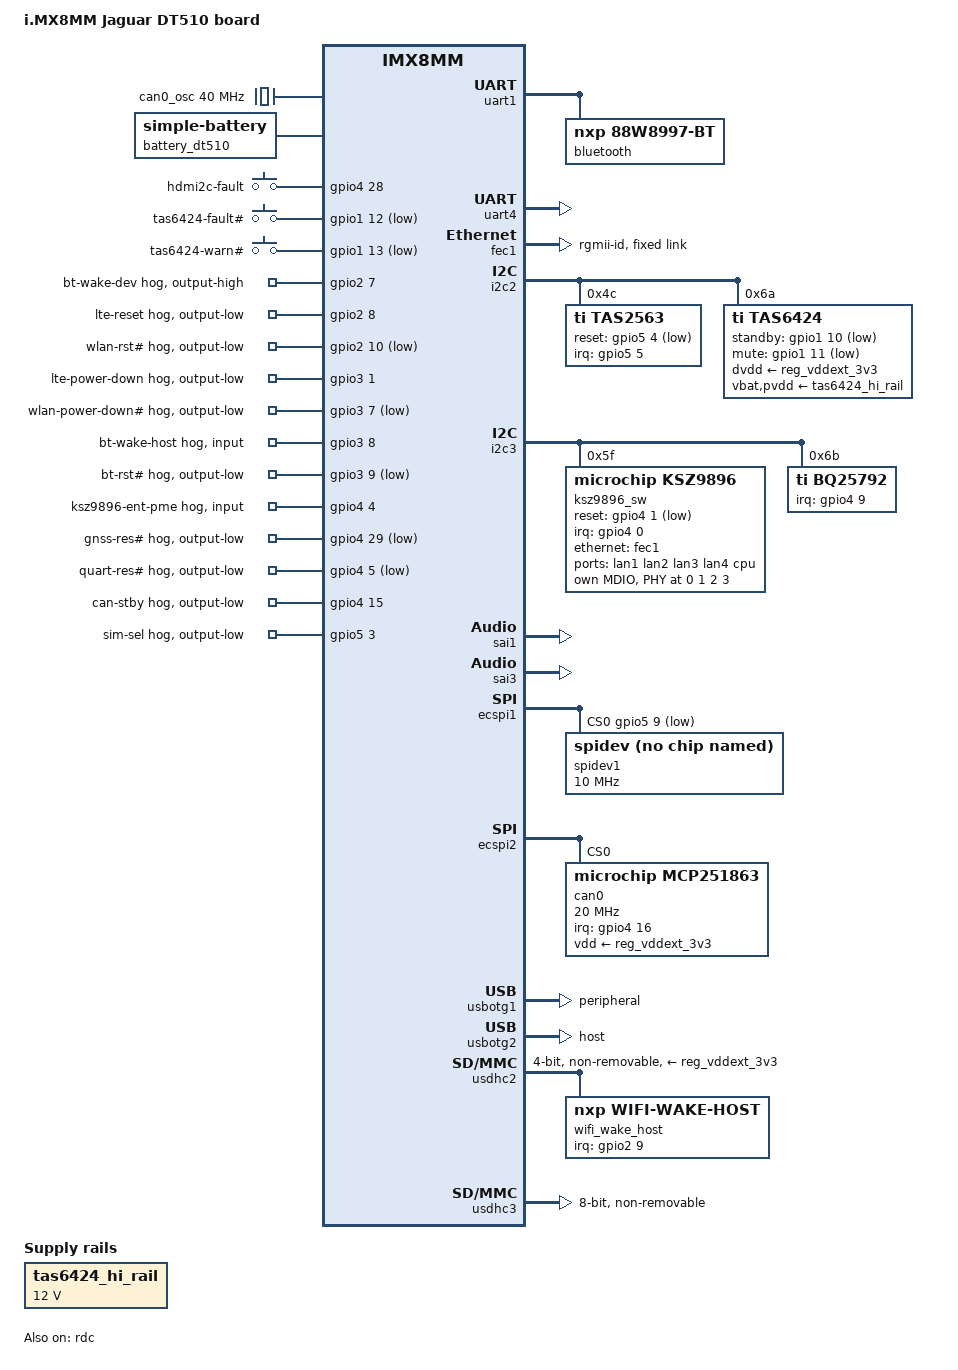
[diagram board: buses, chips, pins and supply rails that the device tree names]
// SPDX-License-Identifier: (GPL-2.0 OR MIT)
/*
 * Copyright 2020 NXP
 */
/*
 * i.MX8MM Jaguar DT510 — canonical device tree source (Tier A2).
 *
 * recipes-kernel/linux/linux-lmp-fslc-imx/imx8mm-jaguar-dt510.dts is a symlink to this file (Tier A1).
 *
 * Hardware SSOT: VIX DT510 pinout / hardware spec (Google Doc — revise on schematic proof).
 * Bring-up plan & tiers: docs/DT510-BSP-PROJECT-PLAN.md
 *
 * Board highlights (this file vs EVK):
 *   PMIC: inherited PCA9450 on &i2c1 @ 0x25 (imx8mm-evkb.dts).
 *   Cellular: USB OTG2 host; LTE_RST (GPIO2_IO8), LTE_OFF / power-down (GPIO3_IO1), SIM_SEL (GPIO5_IO3: low=nano, high=eSIM) via GPIO hogs + hoggrp mux.
 *   Storage: on-chip eMMC on USDHC3 (same NAND-pin mux as i.MX8MM EVK — imx8mm-evkb.dtsi does not pull in imx8mm-evk.dts, which enables this).
 *   WLAN/BT: IW612 SDIO on USDHC2 + UART1; strap pins (hoggrp / gpio2 / gpio3):
 *            WIFI_PD# NAND_DATA01→GPIO3_IO7; WL_WAKE SD1_DATA7→GPIO2_IO9 (IRQ 9); WL_RST# SD1_RESET_B→GPIO2_IO10;
 *            BT_WAKE_HOST NAND_DATA02→GPIO3_IO8; BT_RST# NAND_DATA03→GPIO3_IO9.
 *            SDIO VMMC from PCA9450 VDDEXT (`&reg_vddext_3v3`) — same rail approach as jaguar-sentai `regulator-vddext`.
 *   Ethernet: i.MX FEC → Microchip KSZ9896 DSA (RGMII + I2C management on &i2c3 @ 0x5f); four LAN PHYs inside switch.
 *   Audio: TI TAS6424 (&sai1), TAS2563 (&sai3), TAC5301 analog (&sai6, I2C @0x50 — DTS ready; ASoC driver not in factory kernel yet).
 *            TAS6424 AMP_FAULT#/WARN# on gpio-keys (GPIO1_IO12/13).
 *   Power / sensing: TI BQ25792 charger on &i2c3.
 *   Zigbee: ECSPI1 to 802.15.4 module (userspace spidev); ZB_INT on GPIO4_IO22 only — no ZB_RST# on DT510 hardware.
 *   CAN: Microchip MCP251863 on &ecspi2 (UART4 uses different pads — no mux clash); CAN_INT# GPIO4_IO16, CAN_STBY GPIO4_IO15.
 *   GNSS: u-blox NEO-M9V — GNSS_RES# on GPIO4_IO29 (SAI3_RXC mux), active-low reset driven by SoC.
 *   USB UART: Silicon Labs CP2108 quad bridge — USB enumerates with cp210x; QUART_RES# on GPIO4_IO5 (SAI1_RXD3 mux).
 *   HDMI: Lontium LT9611 on &i2c3 @ 0x39 — SD1_STROBE / SD1_DATA4 → GPIO2_IO11 / GPIO2_IO6 (bridge disabled until DSI graph);
 *          HDMI2C1 fault on GPIO4_IO28 (SAI3_RXFS mux).
 *   Low-power MCU: NXP MCXC144VFM — async serial on UART4 (UART4_RXD/UART4_TXD pads; DT macros UART4_DCE_RX/TX).
 *   Digital I/O: GPIO1_IO00/01/04–09 muxed as GPIO (DI1–4 / DO1–4); IO10–IO13 reserved for TAS6424 (see &tas6424).
 *            EVK hdmi@3d (ADV7535/adv7511 on &i2c2) is status disabled — driver does not probe.
 *   SE050 secure element: I2C4 @ 0x48 — handled by U-Boot / OpTEE, not described here.
 *
 * I2C numbering: Linux adapter i2c-N corresponds to DTS &i2c(N+1) (e.g. i2c-1 = &i2c2; i2c-2 = &i2c3 — KSZ9896 @ 0x5f).
 *
 * Active-low GPIO lines (# suffix, GPIO_ACTIVE_LOW): for gpio-hog, output-low requests logical
 * inactive (line electrically high for an active-low signal = enable released / reset deasserted);
 * output-high requests logical active (electrically low = asserted). Getting this backwards holds
 * chips in reset or powered down.
 */

#include "freescale/imx8mm-evkb.dts"
#include "imx8mm-sw_pad_ctl.h"
#include <dt-bindings/gpio/gpio.h>
#include <dt-bindings/input/input.h>
#include <dt-bindings/interrupt-controller/irq.h>
#include <dt-bindings/clock/imx8mm-clock.h>

/ {
	model = "i.MX8MM Jaguar DT510 board";
	compatible = "fsl,imx8mm-jaguar-dt510", "fsl,imx8mm-evkb", "fsl,imx8mm-evk", "fsl,imx8mm";

	/*
	 * Drop EVK audio composites not wired on DT510 (PMIC/audio/path differs).
	 * NXP imx8mm-evk.dtsi: regulator-audio-board gates via &pca6416; sound-ak5558 / sound-ak4497
	 * reference AK codecs removed under &i2c3 — delete these too or DTC fails on dangling phandles.
	 */
	/delete-node/ sound-micfil;
	/delete-node/ sound-wm8524;
	/delete-node/ sound-ak4458;
	/delete-node/ sound-spdif;
	/delete-node/ sound-bt-sco;
	/delete-node/ regulator-audio-board;
	/delete-node/ sound-ak5558;
	/delete-node/ sound-ak4497;

	/* EVK DSI→HDMI graph tail — hdmi@3d on &i2c2 disabled under &i2c2; DT510 HDMI is LT9611 on &i2c3. */
	/delete-node/ hdmi-connector;

	/*
	 * Fixed rails for on-board silicon:
	 *   3V3 — imx8mm-evk.dtsi `reg_vddext_3v3` (VDDEXT_3V3); use &reg_vddext_3v3 — do not duplicate regulator-name.
	 *   tas6424_hi_rail — 12V class-D VBATT+PVDD net for TAS6424 (nominal; confirm vs BOM).
	 */

	/*
	 * TAS6424 VBAT/PVDD: driver needs separate supplies; one fixed rail for both here.
	 * 12 V nominal — confirm net names vs BOM. regulator-always-on matches HW (no SW sequencing).
	 */
	tas6424_hi_rail: regulator-tas6424-hi {
		compatible = "regulator-fixed";
		regulator-name = "TAS6424_VBAT_PVDD";
		regulator-min-microvolt = <12000000>;
		regulator-max-microvolt = <12000000>;
		regulator-always-on;
	};

	/*
	 * MCP251863/MCP2518FD crystal — match BOM Hz (typ. 40 MHz); binding requires clocks + spi-max-frequency ≤ clock/2.
	 */
	can0_osc: can0-osc {
		compatible = "fixed-clock";
		#clock-cells = <0>;
		clock-frequency = <40000000>;
	};

	/* Charger IC (BQ25792) battery chemistry model — tune vs actual pack (1S placeholder). */
	battery_dt510: battery-dt510 {
		compatible = "simple-battery";
		constant-charge-voltage-max-microvolt = <4200000>;
		constant-charge-current-max-microamp = <2000000>;
		charge-term-current-microamp = <160000>;
	};

	/*
	 * ALSA device naming:
	 *   tas6424-classd — speaker power stage (TAS6424 on &sai1).
	 *   tas2563-audio — TAS2563 smart amp path on &sai3 (Profile 8 TDM).
	 */
	sound-tas6424 {
		compatible = "simple-audio-card";
		simple-audio-card,name = "tas6424-classd";
		simple-audio-card,format = "i2s";
		simple-audio-card,frame-master = <&tas6424_cpu_dai>;
		simple-audio-card,bitclock-master = <&tas6424_cpu_dai>;
		simple-audio-card,widgets =
			"Speaker", "Speaker";
		simple-audio-card,routing =
			"Speaker", "OUT";

		tas6424_cpu_dai: simple-audio-card,cpu {
			sound-dai = <&sai1>;
		};

		simple-audio-card,codec {
			sound-dai = <&tas6424>;
			clocks = <&clk IMX8MM_CLK_SAI1_ROOT>;
		};
	};

	sound-tas2563 {
		compatible = "simple-audio-card";
		simple-audio-card,name = "tas2563-audio";
		simple-audio-card,format = "i2s";
		simple-audio-card,frame-master = <&cpudai2>;
		simple-audio-card,bitclock-master = <&cpudai2>;

		simple-audio-card,widgets =
			"Speaker", "Speaker";
		simple-audio-card,routing =
			"Speaker", "OUT";

		cpudai2: simple-audio-card,cpu {
			sound-dai = <&sai3>;
			dai-tdm-slot-num = <4>;  /* Profile 8 */
			dai-tdm-slot-width = <32>;
		};

		simple-audio-card,codec {
			sound-dai = <&tas2563>;
			clocks = <&clk IMX8MM_CLK_SAI3_ROOT>;
		};
	};

	/* RDC: UART4 PDAP must be domain 0 (A53) before UART probes (see fsl,rdc-config). */
	rdc: rdc@303d0000 {
		compatible = "fsl,imx8mm-rdc";
		reg = <0x0 0x303d0000 0x0 0x10000>;
		status = "okay";

		fsl,rdc-config = <
			0x44  0x3  /* UART4 PDAP → domain 0 (A53) */
		>;
	};

	/*
	 * HDMI2C1 bridge fault (input) — not the LT9611 I2C IRQ; pad muxed in pinctrl_hdmi.
	 */
	hdmi_misc_keys {
		compatible = "gpio-keys";
		status = "okay";

		hdmi2c_fault {
			label = "hdmi2c-fault";
			gpios = <&gpio4 28 GPIO_ACTIVE_HIGH>;
			linux,code = <KEY_VENDOR>;
		};
	};

	/*
	 * TAS6424 sideband status (pads muxed with pinctrl_tas6424_gpio — codec driver still polls I2C too).
	 * BTN_0 / BTN_1 — arbitrary distinct evtest codes; labels identify nets (AMP_FAULT#, AMP_WARN# active-low).
	 */
	tas6424_amp_keys {
		compatible = "gpio-keys";
		status = "okay";

		tas6424_fault {
			label = "tas6424-fault#";
			gpios = <&gpio1 12 GPIO_ACTIVE_LOW>;
			linux,code = <BTN_0>;
		};

		tas6424_warn {
			label = "tas6424-warn#";
			gpios = <&gpio1 13 GPIO_ACTIVE_LOW>;
			linux,code = <BTN_1>;
		};
	};

	/* CM4: disabled — avoid resource contention with A53. */
	imx8mm-cm4 {
		compatible = "fsl,imx8mm-cm4";
		status = "disabled";
	};
};

/*
 * Pinmux (&iomuxc)
 *
 * Order matches pinctrl-0: hog GPIOs + BQ25792 charger interrupt, then groups used by drivers.
 * Do not list pinctrl_ecspi2 here — &ecspi2 applies it; listing it twice causes "already requested by pinctrl" for 30830000.spi.
 *   hoggrp — WLAN/BT/LTE strap lines (SD1_DATA5/6/7, SD1_RESET_B, …); TAS2563 reset (CODEC_SD# on GPIO5).
 *   bq25792_chgr_int — CHGR_INT# from charger (muxed GPIO4).
 *   uart1 — UART1 + UART3 pins used as RTS/CTS for Bluetooth (IW8997 sideband).
 *   uart4 — MCXC144VFM MCU serial (RDC domain programmed for A53).
 *   usdhc2 — SDIO to WLAN module (4-bit).
 *   fec1 / ksz9896_sideband — RGMII to KSZ9896; SAI1 pads: ENET_INTRP_N# (SAI1_RXFS→GPIO4_IO0), ENET_RST_N# (SAI1_RXC→GPIO4_IO1), + PME on GPIO4_IO4 (SAI1_RXD2).
 *   gpio1_dio — general-purpose DIO on GPIO1_IO00/01/04–09 (single SW_PAD GPIO_DEFAULT; IO02/03 N.C. on SKU).
 *   tas6424_gpio / sai1_tas6424 — TAS6424 enable/fault GPIOs + I2S to class-D.
 *   sai2 — Not wired for audio on DT510 (pads may overlap Zigbee); pinmux retained for reference.
 *   sai3 — TAS2563 I2S + codec interrupt on GPIO5.
 *   ecspi1 + zigbee — SPI to 802.15.4 module; ZB_INT on GPIO4_IO22 (no SoC ZB_RST# line on this SKU).
 *   ecspi2 + can_gpio — MCP251863: ECSPI2 pads via pinctrl_ecspi2 on &ecspi2 only; CAN sideband on GPIO4_IO15/16 (pinctrl_can_mcp2518_gpio).
 *   tac5301 — SAI6 on SAI1_RXD4/RXD5/RXD6 + SAI1_TXD5 pads; SAI1_TXD2 → GPIO4_IO14 codec strap (SAI1 TXD0/1 still &tas6424).
 *   gnss_reset — NEO-M9V GNSS_RES# (GPIO output; pad not used by &sai3 audio mux below).
 *   hdmi — LT9611 (SD1_STROBE / SD1_DATA4 / SAI3_RXFS): HDMI_RES#, HDMI_INT, HDMI2C1 fault (GPIO2_IO11, GPIO2_IO6, GPIO4_IO28).
 *   quart_reset — CP2108 QUART_RES# (GPIO4_IO5, SAI1_RXD3 pad; not in &sai1 TAS6424 pinctrl).
 */
&iomuxc {
	pinctrl-names = "default";
	pinctrl-0 = <&pinctrl_hog>, <&pinctrl_bq25792_chgr_int>, <&pinctrl_gnss_reset>, <&pinctrl_hdmi>, <&pinctrl_quart_reset>, <&pinctrl_gpio1_dio>, <&pinctrl_can_mcp2518_gpio>, <&pinctrl_sai6_tac5301>, <&pinctrl_tac5301_gpio>;

	/*
	 * Boot-time strap / sideband mux defaults (WLAN/BT/LTE/SIM/audio straps).
	 * WLAN host-side: WL_WAKE SD1_DATA7→GPIO2_IO9; WL_RST# SD1_RESET_B→GPIO2_IO10; BT_WAKE_DEV SD1_DATA5→GPIO2_IO7; LTE_RST SD1_DATA6→GPIO2_IO8.
	 */
	pinctrl_hog: hoggrp {
		fsl,pins = <
			MX8MM_IOMUXC_SD1_DATA5_GPIO2_IO7	IMX8MM_PAD_GPIO_STRAP_PULLUP  /* BT_WAKE_DEV */
			MX8MM_IOMUXC_SD1_DATA6_GPIO2_IO8	IMX8MM_PAD_GPIO_STRAP_PULLUP  /* LTE_RST */
			MX8MM_IOMUXC_SD1_DATA7_GPIO2_IO9	IMX8MM_PAD_GPIO_STRAP_PULLUP  /* WL_WAKE — WLAN wakes host */
			MX8MM_IOMUXC_SD1_RESET_B_GPIO2_IO10	IMX8MM_PAD_GPIO_STRAP_PULLUP  /* WL_RST# — SoC output, active-low */
			MX8MM_IOMUXC_NAND_CE0_B_GPIO3_IO1	IMX8MM_PAD_GPIO_STRAP_PULLUP  /* LTE_OFF / FUL_CARD_POWER_OFF# */
			MX8MM_IOMUXC_NAND_DATA01_GPIO3_IO7      IMX8MM_PAD_GPIO_STRAP_PULLUP  /* WIFI_PD# */
			MX8MM_IOMUXC_NAND_DATA02_GPIO3_IO8	IMX8MM_PAD_GPIO_STRAP_PULLUP  /* BT_WAKE_HOST */
			MX8MM_IOMUXC_NAND_DATA03_GPIO3_IO9      IMX8MM_PAD_GPIO_STRAP_PULLUP  /* BT_RST# — ISR / independent SW reset, active-low */
			MX8MM_IOMUXC_SPDIF_RX_GPIO5_IO4         IMX8MM_PAD_GPIO_STRAP_PULLUP  /* CODEC_SD# (TAS2563 reset strap) */
			MX8MM_IOMUXC_SPDIF_TX_GPIO5_IO3         IMX8MM_PAD_GPIO_STRAP_PULLUP  /* SIM_SEL: low=nano SIM, high=eSIM */
		>;
	};

	/* TI BQ25792 — CHGR_INT# (active-low alert from charger). */
	pinctrl_bq25792_chgr_int: bq25792_chgr_int_grp {
		fsl,pins = <
			MX8MM_IOMUXC_SAI1_RXD7_GPIO4_IO9	IMX8MM_PAD_GPIO_STRAP_PULLUP  /* CHGR_INT# */
		>;
	};

	/*
	 * NEO-M9V GNSS — GNSS_RES# → GPIO4_IO29 (mux SAI3_RXC pad as GPIO).
	 * Hog uses GPIO_ACTIVE_LOW + output-low (same as bt-reset-hog) → reset deasserted at boot; pulse active in userspace if needed.
	 */
	pinctrl_gnss_reset: gnssresetgrp {
		fsl,pins = <
			MX8MM_IOMUXC_SAI3_RXC_GPIO4_IO29	IMX8MM_PAD_GPIO_STRAP_PULLUP
		>;
	};

	/*
	 * Lontium LT9611 + HDMI2C1 sideband (lt9611@39 when enabled).
	 *   HDMI_RES# — GPIO2_IO11 (SD1_STROBE); HDMI_INT — GPIO2_IO6 (SD1_DATA4).
	 *   HDMI2C1 fault — GPIO4_IO28 (SAI3_RXFS; not used by current &sai3 TAS2563 pin group).
	 */
	pinctrl_hdmi: hdmigrp {
		fsl,pins = <
			MX8MM_IOMUXC_SD1_STROBE_GPIO2_IO11	IMX8MM_PAD_GPIO_STRAP_PULLUP
			MX8MM_IOMUXC_SD1_DATA4_GPIO2_IO6	IMX8MM_PAD_GPIO_STRAP_PULLUP
			MX8MM_IOMUXC_SAI3_RXFS_GPIO4_IO28	IMX8MM_PAD_GPIO_STRAP_PULLUP
		>;
	};

	/*
	 * CP2108 USB–quad-UART — QUART_RES# (active-low) on SAI1_RXD3 → GPIO4_IO5.
	 * Hog uses GPIO_ACTIVE_LOW + output-low like bt-reset-hog. Ports: /dev/ttyUSB* once USB attaches.
	 */
	pinctrl_quart_reset: quartresetgrp {
		fsl,pins = <
			MX8MM_IOMUXC_SAI1_RXD3_GPIO4_IO5	IMX8MM_PAD_GPIO_STRAP_PULLUP
		>;
	};

	/*
	 * General-purpose digital I/O — GPIO1_IO00/01/04–09 as GPIO (imx8mm-pinfunc.h pad macros through GPIO1_IO09).
	 * Mapping vs connector: DI1–4 → IO00/01/04/05; DO1–4 → IO06–09. IO02/03 not bonded here; IO10–IO13 = &tas6424.
	 */
	pinctrl_gpio1_dio: gpio1diogrp {
		fsl,pins = <
			MX8MM_IOMUXC_GPIO1_IO00_GPIO1_IO0	IMX8MM_PAD_GPIO_DEFAULT
			MX8MM_IOMUXC_GPIO1_IO01_GPIO1_IO1	IMX8MM_PAD_GPIO_DEFAULT
			MX8MM_IOMUXC_GPIO1_IO04_GPIO1_IO4	IMX8MM_PAD_GPIO_DEFAULT
			MX8MM_IOMUXC_GPIO1_IO05_GPIO1_IO5	IMX8MM_PAD_GPIO_DEFAULT
			MX8MM_IOMUXC_GPIO1_IO06_GPIO1_IO6	IMX8MM_PAD_GPIO_DEFAULT
			MX8MM_IOMUXC_GPIO1_IO07_GPIO1_IO7	IMX8MM_PAD_GPIO_DEFAULT
			MX8MM_IOMUXC_GPIO1_IO08_GPIO1_IO8	IMX8MM_PAD_GPIO_DEFAULT
			MX8MM_IOMUXC_GPIO1_IO09_GPIO1_IO9	IMX8MM_PAD_GPIO_DEFAULT
		>;
	};

	/* Bluetooth (NXP IW8997): UART1 data + UART3 pins as HCI RTS/CTS. */
	pinctrl_uart1: uart1grp {
		fsl,pins = <
			MX8MM_IOMUXC_UART1_RXD_UART1_DCE_RX     IMX8MM_PAD_UART_DEFAULT
			MX8MM_IOMUXC_UART1_TXD_UART1_DCE_TX     IMX8MM_PAD_UART_DEFAULT
			MX8MM_IOMUXC_UART3_TXD_UART1_DCE_RTS_B  IMX8MM_PAD_UART_DEFAULT
			MX8MM_IOMUXC_UART3_RXD_UART1_DCE_CTS_B  IMX8MM_PAD_UART_DEFAULT
		>;
	};

	/*
	 * UART4 — MCXC144VFM link (or lab UART): same RX/TX balls as UART4_RX/UART4_TX; NXP macros use DCE naming.
	 */
	pinctrl_uart4: uart4grp {
		fsl,pins = <
			MX8MM_IOMUXC_UART4_RXD_UART4_DCE_RX     IMX8MM_PAD_UART_DEFAULT
			MX8MM_IOMUXC_UART4_TXD_UART4_DCE_TX     IMX8MM_PAD_UART_DEFAULT
		>;
	};

	/* USDHC2 — Wi-Fi module SDIO (IW612 class / MAYA-W2 family). */
	pinctrl_usdhc2: usdhc2grp {
		fsl,pins = <
			MX8MM_IOMUXC_SD2_CLK_USDHC2_CLK         IMX8MM_PAD_USDHC_CLK
			MX8MM_IOMUXC_SD2_CMD_USDHC2_CMD         IMX8MM_PAD_USDHC_BUS
			MX8MM_IOMUXC_SD2_DATA0_USDHC2_DATA0     IMX8MM_PAD_USDHC_BUS
			MX8MM_IOMUXC_SD2_DATA1_USDHC2_DATA1     IMX8MM_PAD_USDHC_BUS
			MX8MM_IOMUXC_SD2_DATA2_USDHC2_DATA2     IMX8MM_PAD_USDHC_BUS
			MX8MM_IOMUXC_SD2_DATA3_USDHC2_DATA3     IMX8MM_PAD_USDHC_BUS
		>;
	};

	pinctrl_usdhc2_100mhz: usdhc2-100mhzgrp {
		fsl,pins = <
			MX8MM_IOMUXC_SD2_CLK_USDHC2_CLK         IMX8MM_PAD_USDHC_CLK_100MHZ
			MX8MM_IOMUXC_SD2_CMD_USDHC2_CMD         IMX8MM_PAD_USDHC_BUS_100MHZ
			MX8MM_IOMUXC_SD2_DATA0_USDHC2_DATA0     IMX8MM_PAD_USDHC_BUS_100MHZ
			MX8MM_IOMUXC_SD2_DATA1_USDHC2_DATA1     IMX8MM_PAD_USDHC_BUS_100MHZ
			MX8MM_IOMUXC_SD2_DATA2_USDHC2_DATA2     IMX8MM_PAD_USDHC_BUS_100MHZ
			MX8MM_IOMUXC_SD2_DATA3_USDHC2_DATA3     IMX8MM_PAD_USDHC_BUS_100MHZ
		>;
	};

	pinctrl_usdhc2_200mhz: usdhc2-200mhzgrp {
		fsl,pins = <
			MX8MM_IOMUXC_SD2_CLK_USDHC2_CLK         IMX8MM_PAD_USDHC_CLK_200MHZ
			MX8MM_IOMUXC_SD2_CMD_USDHC2_CMD         IMX8MM_PAD_USDHC_BUS_200MHZ
			MX8MM_IOMUXC_SD2_DATA0_USDHC2_DATA0     IMX8MM_PAD_USDHC_BUS_200MHZ
			MX8MM_IOMUXC_SD2_DATA1_USDHC2_DATA1     IMX8MM_PAD_USDHC_BUS_200MHZ
			MX8MM_IOMUXC_SD2_DATA2_USDHC2_DATA2     IMX8MM_PAD_USDHC_BUS_200MHZ
			MX8MM_IOMUXC_SD2_DATA3_USDHC2_DATA3     IMX8MM_PAD_USDHC_BUS_200MHZ
		>;
	};

	/*
	 * USDHC3 — on-board eMMC (EVK-class 8-bit NAND pin mux).
	 * Copied from NXP imx8mm-evk.dts; required after switching base to imx8mm-evkb.dts (evkb omits this board file).
	 */
	pinctrl_usdhc3: usdhc3grp {
		fsl,pins = <
			MX8MM_IOMUXC_NAND_WE_B_USDHC3_CLK               IMX8MM_PAD_USDHC_CLK
			MX8MM_IOMUXC_NAND_WP_B_USDHC3_CMD               IMX8MM_PAD_USDHC_BUS
			MX8MM_IOMUXC_NAND_DATA04_USDHC3_DATA0           IMX8MM_PAD_USDHC_BUS
			MX8MM_IOMUXC_NAND_DATA05_USDHC3_DATA1           IMX8MM_PAD_USDHC_BUS
			MX8MM_IOMUXC_NAND_DATA06_USDHC3_DATA2           IMX8MM_PAD_USDHC_BUS
			MX8MM_IOMUXC_NAND_DATA07_USDHC3_DATA3           IMX8MM_PAD_USDHC_BUS
			MX8MM_IOMUXC_NAND_RE_B_USDHC3_DATA4             IMX8MM_PAD_USDHC_BUS
			MX8MM_IOMUXC_NAND_CE2_B_USDHC3_DATA5            IMX8MM_PAD_USDHC_BUS
			MX8MM_IOMUXC_NAND_CE3_B_USDHC3_DATA6            IMX8MM_PAD_USDHC_BUS
			MX8MM_IOMUXC_NAND_CLE_USDHC3_DATA7              IMX8MM_PAD_USDHC_BUS
			MX8MM_IOMUXC_NAND_CE1_B_USDHC3_STROBE           IMX8MM_PAD_USDHC_CLK
		>;
	};

	pinctrl_usdhc3_100mhz: usdhc3-100mhzgrp {
		fsl,pins = <
			MX8MM_IOMUXC_NAND_WE_B_USDHC3_CLK               IMX8MM_PAD_USDHC_CLK_100MHZ
			MX8MM_IOMUXC_NAND_WP_B_USDHC3_CMD               IMX8MM_PAD_USDHC_BUS_100MHZ
			MX8MM_IOMUXC_NAND_DATA04_USDHC3_DATA0           IMX8MM_PAD_USDHC_BUS_100MHZ
			MX8MM_IOMUXC_NAND_DATA05_USDHC3_DATA1           IMX8MM_PAD_USDHC_BUS_100MHZ
			MX8MM_IOMUXC_NAND_DATA06_USDHC3_DATA2           IMX8MM_PAD_USDHC_BUS_100MHZ
			MX8MM_IOMUXC_NAND_DATA07_USDHC3_DATA3           IMX8MM_PAD_USDHC_BUS_100MHZ
			MX8MM_IOMUXC_NAND_RE_B_USDHC3_DATA4             IMX8MM_PAD_USDHC_BUS_100MHZ
			MX8MM_IOMUXC_NAND_CE2_B_USDHC3_DATA5            IMX8MM_PAD_USDHC_BUS_100MHZ
			MX8MM_IOMUXC_NAND_CE3_B_USDHC3_DATA6            IMX8MM_PAD_USDHC_BUS_100MHZ
			MX8MM_IOMUXC_NAND_CLE_USDHC3_DATA7              IMX8MM_PAD_USDHC_BUS_100MHZ
			MX8MM_IOMUXC_NAND_CE1_B_USDHC3_STROBE           IMX8MM_PAD_USDHC_CLK_100MHZ
		>;
	};

	pinctrl_usdhc3_200mhz: usdhc3-200mhzgrp {
		fsl,pins = <
			MX8MM_IOMUXC_NAND_WE_B_USDHC3_CLK               IMX8MM_PAD_USDHC_CLK_200MHZ
			MX8MM_IOMUXC_NAND_WP_B_USDHC3_CMD               IMX8MM_PAD_USDHC_BUS_200MHZ
			MX8MM_IOMUXC_NAND_DATA04_USDHC3_DATA0           IMX8MM_PAD_USDHC_BUS_200MHZ
			MX8MM_IOMUXC_NAND_DATA05_USDHC3_DATA1           IMX8MM_PAD_USDHC_BUS_200MHZ
			MX8MM_IOMUXC_NAND_DATA06_USDHC3_DATA2           IMX8MM_PAD_USDHC_BUS_200MHZ
			MX8MM_IOMUXC_NAND_DATA07_USDHC3_DATA3           IMX8MM_PAD_USDHC_BUS_200MHZ
			MX8MM_IOMUXC_NAND_RE_B_USDHC3_DATA4             IMX8MM_PAD_USDHC_BUS_200MHZ
			MX8MM_IOMUXC_NAND_CE2_B_USDHC3_DATA5            IMX8MM_PAD_USDHC_BUS_200MHZ
			MX8MM_IOMUXC_NAND_CE3_B_USDHC3_DATA6            IMX8MM_PAD_USDHC_BUS_200MHZ
			MX8MM_IOMUXC_NAND_CLE_USDHC3_DATA7              IMX8MM_PAD_USDHC_BUS_200MHZ
			MX8MM_IOMUXC_NAND_CE1_B_USDHC3_STROBE           IMX8MM_PAD_USDHC_CLK_200MHZ
		>;
	};

	/*
	 * ENET1 — RGMII from SoC to KSZ9896 CPU port.
	 * Pad CFG values match imx8mm-evk.dtsi pinctrl_fec1 (fec1grp).
	 * EVK also lists SAI2_RXC→GPIO4_IO22 @ 0x19 (PHY strap); DT510 uses that pad for ZB_INT — see pinctrl_zigbee.
	 */
	pinctrl_fec1_dt510: fec1dt510grp {
		fsl,pins = <
			MX8MM_IOMUXC_ENET_MDC_ENET1_MDC				IMX8MM_PAD_ENET_MDIO
			MX8MM_IOMUXC_ENET_MDIO_ENET1_MDIO			IMX8MM_PAD_ENET_MDIO
			MX8MM_IOMUXC_ENET_TD3_ENET1_RGMII_TD3		IMX8MM_PAD_ENET_RGMII_TX
			MX8MM_IOMUXC_ENET_TD2_ENET1_RGMII_TD2		IMX8MM_PAD_ENET_RGMII_TX
			MX8MM_IOMUXC_ENET_TD1_ENET1_RGMII_TD1		IMX8MM_PAD_ENET_RGMII_TX
			MX8MM_IOMUXC_ENET_TD0_ENET1_RGMII_TD0		IMX8MM_PAD_ENET_RGMII_TX
			MX8MM_IOMUXC_ENET_RD3_ENET1_RGMII_RD3		IMX8MM_PAD_ENET_RGMII_RX
			MX8MM_IOMUXC_ENET_RD2_ENET1_RGMII_RD2		IMX8MM_PAD_ENET_RGMII_RX
			MX8MM_IOMUXC_ENET_RD1_ENET1_RGMII_RD1		IMX8MM_PAD_ENET_RGMII_RX
			MX8MM_IOMUXC_ENET_RD0_ENET1_RGMII_RD0		IMX8MM_PAD_ENET_RGMII_RX
			MX8MM_IOMUXC_ENET_TXC_ENET1_RGMII_TXC		IMX8MM_PAD_ENET_RGMII_TX
			MX8MM_IOMUXC_ENET_RXC_ENET1_RGMII_RXC		IMX8MM_PAD_ENET_RGMII_RX
			MX8MM_IOMUXC_ENET_RX_CTL_ENET1_RGMII_RX_CTL	IMX8MM_PAD_ENET_RGMII_RX
			MX8MM_IOMUXC_ENET_TX_CTL_ENET1_RGMII_TX_CTL	IMX8MM_PAD_ENET_RGMII_TX
		>;
	};

	/*
	 * KSZ9896 / FEC sideband on SAI1 pads (see &ksz9896_sw).
	 *   ENET_INTRP_N# — SAI1_RXFS → GPIO4_IO0, input to SoC, active-low (interrupt to MAC driver).
	 *   ENET_RST_N#    — SAI1_RXC → GPIO4_IO1, output from SoC, active-low (switch reset).
	 *   PME / wake     — SAI1_RXD2 → GPIO4_IO4 (ksz9896 PME hog).
	 */
	pinctrl_ksz9896_sideband: ksz9896sidebandgrp {
		fsl,pins = <
			MX8MM_IOMUXC_SAI1_RXFS_GPIO4_IO0	IMX8MM_PAD_GPIO_STD	/* ENET_INTRP_N# */
			MX8MM_IOMUXC_SAI1_RXC_GPIO4_IO1	IMX8MM_PAD_GPIO_STD	/* ENET_RST_N# */
			MX8MM_IOMUXC_SAI1_RXD2_GPIO4_IO4	IMX8MM_PAD_GPIO_STD	/* KSZ9896 PME / ent-pme */
		>;
	};

	/* TAS6424 — AMP_STBY#, AMP_MUTE#, FAULT, WARN (GPIO1 sideband). */
	pinctrl_tas6424_gpio: tas6424gpiogrp {
		fsl,pins = <
			MX8MM_IOMUXC_GPIO1_IO10_GPIO1_IO10	IMX8MM_PAD_GPIO_STD
			MX8MM_IOMUXC_GPIO1_IO11_GPIO1_IO11	IMX8MM_PAD_GPIO_STD
			MX8MM_IOMUXC_GPIO1_IO12_GPIO1_IO12	IMX8MM_PAD_GPIO_STD
			MX8MM_IOMUXC_GPIO1_IO13_GPIO1_IO13	IMX8MM_PAD_GPIO_STD
		>;
	};

	/* TAS6424 — I2S master from SoC (SAI1). */
	pinctrl_sai1_tas6424: sai1tas6424grp {
		fsl,pins = <
			MX8MM_IOMUXC_SAI1_MCLK_SAI1_MCLK		IMX8MM_PAD_I2S_BUS
			MX8MM_IOMUXC_SAI1_TXFS_SAI1_TX_SYNC		IMX8MM_PAD_I2S_SYNC
			MX8MM_IOMUXC_SAI1_TXC_SAI1_TX_BCLK		IMX8MM_PAD_I2S_BUS
			MX8MM_IOMUXC_SAI1_TXD0_SAI1_TX_DATA0	IMX8MM_PAD_I2S_BUS
			MX8MM_IOMUXC_SAI1_TXD1_SAI1_TX_DATA1	IMX8MM_PAD_I2S_BUS
		>;
	};

	/* Not used by &sai2 on DT510; kept for alignment with EVK-style SAI2 pin bundle if enabled later. */
	pinctrl_sai2: sai2grp {
		fsl,pins = <
			MX8MM_IOMUXC_SAI2_MCLK_SAI2_MCLK        IMX8MM_PAD_SAI_DEFAULT
			MX8MM_IOMUXC_SAI2_TXFS_SAI2_TX_SYNC     IMX8MM_PAD_SAI_DEFAULT
			MX8MM_IOMUXC_SAI2_TXC_SAI2_TX_BCLK      IMX8MM_PAD_SAI_DEFAULT
			MX8MM_IOMUXC_SAI2_TXD0_SAI2_TX_DATA0    IMX8MM_PAD_SAI_DEFAULT
			MX8MM_IOMUXC_SAI2_RXD0_SAI2_RX_DATA0    IMX8MM_PAD_SAI_DEFAULT
		>;
	};

	/* TAS2563 — I2S + GPIO5 interrupt; SPDIF_EXT_CLK pad used as codec IRQ line. */
	pinctrl_sai3: sai3grp {
		fsl,pins = <
			MX8MM_IOMUXC_SAI3_TXFS_SAI3_TX_SYNC     IMX8MM_PAD_SAI_DEFAULT
			MX8MM_IOMUXC_SAI3_TXC_SAI3_TX_BCLK      IMX8MM_PAD_SAI_DEFAULT
			MX8MM_IOMUXC_SAI3_MCLK_SAI3_MCLK        IMX8MM_PAD_SAI_DEFAULT
			MX8MM_IOMUXC_SAI3_TXD_SAI3_TX_DATA0     IMX8MM_PAD_SAI_DEFAULT
			MX8MM_IOMUXC_SAI3_RXD_SAI3_RX_DATA0     IMX8MM_PAD_SAI_DEFAULT
			MX8MM_IOMUXC_SPDIF_EXT_CLK_GPIO5_IO5    IMX8MM_PAD_SAI_DEFAULT
		>;
	};

	/* ECSPI1 — SPI clock/data to Zigbee module; CS on GPIO5_IO9. */
	pinctrl_ecspi1: ecspi1grp {
		fsl,pins = <
			MX8MM_IOMUXC_ECSPI1_SS0_GPIO5_IO9	IMX8MM_PAD_SPI_HOST_DEFAULT
			MX8MM_IOMUXC_ECSPI1_SCLK_ECSPI1_SCLK	IMX8MM_PAD_SPI_HOST_DEFAULT
			MX8MM_IOMUXC_ECSPI1_MISO_ECSPI1_MISO	IMX8MM_PAD_SPI_HOST_DEFAULT
			MX8MM_IOMUXC_ECSPI1_MOSI_ECSPI1_MOSI	IMX8MM_PAD_SPI_HOST_DEFAULT
		>;
	};

	/* Zigbee — ZB_INT on GPIO4_IO22; no SoC ZB_RST# routed on this SKU. */
	pinctrl_zigbee: zigbeegrp {
		fsl,pins = <
			MX8MM_IOMUXC_SAI2_RXC_GPIO4_IO22        IMX8MM_PAD_GPIO_STRAP_PULLUP
		>;
	};

	/* ECSPI2 — Microchip MCP251863 CAN controller (chip select SS0). */
	pinctrl_ecspi2: ecspi2grp {
		fsl,pins = <
			MX8MM_IOMUXC_ECSPI2_SCLK_ECSPI2_SCLK	IMX8MM_PAD_SPI_HOST_DEFAULT
			MX8MM_IOMUXC_ECSPI2_MISO_ECSPI2_MISO	IMX8MM_PAD_SPI_HOST_DEFAULT
			MX8MM_IOMUXC_ECSPI2_MOSI_ECSPI2_MOSI	IMX8MM_PAD_SPI_HOST_DEFAULT
			MX8MM_IOMUXC_ECSPI2_SS0_ECSPI2_SS0	IMX8MM_PAD_SPI_HOST_DEFAULT
		>;
	};

	/*
	 * MCP251863 sideband — CAN_STBY (active-high strap per HW doc), CAN_INT# (active-low, push/pull input).
	 * &sai1 audio mux uses TXD0/TXD1 only; TXD3/TXD4 pads → GPIO4_IO15/IO16.
	 */
	pinctrl_can_mcp2518_gpio: canmcp2518gpiogrp {
		fsl,pins = <
			MX8MM_IOMUXC_SAI1_TXD3_GPIO4_IO15	IMX8MM_PAD_GPIO_STRAP_PULLUP
			MX8MM_IOMUXC_SAI1_TXD4_GPIO4_IO16	IMX8MM_PAD_GPIO_STRAP_PULLUP
		>;
	};

	/*
	 * TI TAC5301-Q1 — I2S on &sai6 (pads shared naming on SAI1_* muxOptions → SAI6).
	 * No separate MCLK pad in SSOT pin list here — confirm vs BOM / driver when enabling.
	 */
	pinctrl_sai6_tac5301: sai6_tac5301_grp {
		fsl,pins = <
			MX8MM_IOMUXC_SAI1_RXD6_SAI6_TX_SYNC		IMX8MM_PAD_SAI_DEFAULT
			MX8MM_IOMUXC_SAI1_RXD4_SAI6_TX_BCLK		IMX8MM_PAD_SAI_DEFAULT
			MX8MM_IOMUXC_SAI1_RXD5_SAI6_TX_DATA0		IMX8MM_PAD_SAI_DEFAULT
			MX8MM_IOMUXC_SAI1_TXD5_SAI6_RX_DATA0		IMX8MM_PAD_SAI_DEFAULT
		>;
	};

	/* TAC5301 — configurable GPIO strap (CODEC_CTL / reset / IRQ per schematic); verify polarity vs TI tac5x1x binding. */
	pinctrl_tac5301_gpio: tac5301_gpiogrp {
		fsl,pins = <
			MX8MM_IOMUXC_SAI1_TXD2_GPIO4_IO14		IMX8MM_PAD_SAI_DEFAULT
		>;
	};
};

/*
 * UART
 *   uart1 — Bluetooth HCI (88x8997 family); firmware loads over this link at init baud below.
 *   uart3 — disabled at bottom of file (unused on this SKU).
 *   uart4 — MCXC144VFM low-power MCU (RX/TX only); &rdc pins UART4 PDAP to A53 before probe (see &rdc node).
 */
&uart1 {
	pinctrl-names = "default";
	pinctrl-0 = <&pinctrl_uart1>;
	assigned-clocks = <&clk IMX8MM_CLK_UART1>;
	assigned-clock-parents = <&clk IMX8MM_SYS_PLL1_80M>;
	fsl,uart-has-rtscts;
	status = "okay";

	/* Bluetooth HCI controller — MAC/PHY firmware negotiates rate after boot (see compatible). */
	bluetooth {
		compatible = "nxp,88w8997-bt";
		fw-init-baudrate = <3000000>;
	};
};

&uart4 {
	pinctrl-names = "default";
	pinctrl-0 = <&pinctrl_uart4>;
	/* RDC: UART4 PDAP domain must be set in U-Boot before Linux probes this UART. */
	status = "okay";
	fsl,rdc-domain = <0>;
};

/*
 * GPIO hogs — kernel-owned GPIO lines with fixed direction/level at probe time (no /dev/gpiochip export).
 * Purpose: (1) safe boot defaults before userspace or modular drivers (resets released, power domains on,
 * SIM mux chosen); (2) reserve lines that are pure hardware straps or sideband so nothing else claims them.
 *   gpio2 — WLAN/BT/LTE: BT_WAKE_DEV (IO7), LTE_RST (IO8), WL_WAKE (IO9), WL_RST# (IO10).
 *   gpio2 — LT9611: HDMI_INT (IO6), HDMI_RES# (IO11).
 *   gpio3 — LTE_OFF / full-card power off (IO1), WIFI_PD#, BT_WAKE_HOST (IO8), BT_RST# (IO9, NAND_DATA03 mux).
 *   gpio4 — ENET_INTRP_N# (IO0), ENET_RST_N# via &ksz9896_sw (IO1), KSZ9896 PME (IO4); GNSS_RES#, QUART_RES#, CAN_STBY; TAC5301 strap IO14; HDMI fault elsewhere.
 *   gpio5 — SIM_SEL (IO3): output-low at boot selects nano SIM per RF shield/BOM (drive high for eSIM).
 */
&gpio2 {
	/*
	 * BT_WAKE_DEV — host-driven wake toward the BT/WLAN module (SD1_DATA5 / GPIO2_IO7). Holds the strap
	 * the RF stack expects at boot; remove hog if firmware needs to pulse this at runtime.
	 */
	bt-wake-dev-hog {
		gpio-hog;
		gpios = <7 GPIO_ACTIVE_HIGH>;
		output-high;
		line-name = "bt-wake-dev";
	};

	/*
	 * LTE_RST — spreadsheet Active-High output from SoC; boot default released (modem out of reset).
	 * Remove gpio-hog if userspace must pulse reset during firmware upgrade.
	 */
	lte-reset-hog {
		gpio-hog;
		gpios = <8 GPIO_ACTIVE_HIGH>;
		output-low;
		line-name = "lte-reset";
	};

	/*
	 * WL_RST# — SD1_RESET_B → GPIO2_IO10 (GPIO_ACTIVE_LOW + output-low = reset released).
	 */
	wlan-rst-hog {
		gpio-hog;
		gpios = <10 GPIO_ACTIVE_LOW>;
		output-low;
		line-name = "wlan-rst#";
	};
};

&gpio3 {
	/*
	 * LTE_OFF / FUL_CARD_POWER_OFF# (NAND_CE0_B → GPIO3_IO1) — spreadsheet active-high: output-low keeps the
	 * modem out of “full card off”; drive high to assert power-down when userspace controls the line.
	 */
	lte-power-down-hog {
		gpio-hog;
		gpios = <1 GPIO_ACTIVE_HIGH>;
		output-low;
		line-name = "lte-power-down";
	};

	/*
	 * WIFI_PD# (NAND_DATA01 → GPIO3_IO7) — active-low WLAN radio power-down. output-low = logical inactive =
	 * PD# deasserted so Wi-Fi is not held in power-down at boot.
	 */
	wlan-power-down-hog {
		gpio-hog;
		gpios = <7 GPIO_ACTIVE_LOW>;
		output-low;
		line-name = "wlan-power-down#";
	};

	/*
	 * BT_WAKE_HOST — input from BT/WLAN module toward the AP (NAND_DATA02 / GPIO3_IO8). Hogged as input so
	 * the line is muxed and not exported as a free output; the module drives host-wake when needed.
	 */
	bt-wake-host-hog {
		gpio-hog;
		gpios = <8 GPIO_ACTIVE_HIGH>;
		input;
		line-name = "bt-wake-host";
	};

	/*
	 * BT_RST# — NAND_DATA03 → GPIO3_IO9; independent software reset (active-low from SoC).
	 */
	bt-reset-hog {
		gpio-hog;
		gpios = <9 GPIO_ACTIVE_LOW>;
		output-low;
		line-name = "bt-rst#";
	};
};

&gpio4 {
	/* Sideband pads muxed with &fec1 / pinctrl_ksz9896_sideband — do not add gpio4 pinctrl-0 here. */
	status = "okay";

	/*
	 * KSZ9896 PME / energy-detect (SAI1_RXD2 → GPIO4_IO4) — switch wake / link-energy sideband. Hogged as
	 * input so the line stays associated with the hog until DSA/MAC path owns wake semantics.
	 */
	ksz9896_pme {
		gpio-hog;
		gpios = <4 GPIO_ACTIVE_HIGH>;
		input;
		line-name = "ksz9896-ent-pme";
	};

	/*
	 * NEO-M9V GNSS_RES# — active-low reset from SoC (same hog pattern as bt-reset-hog).
	 * GPIO_ACTIVE_LOW + output-low → logical inactive → physical high → reset deasserted at boot.
	 * sysfs line name: gnss-res# (GPIO4_IO29). Toggle via libgpiod if hog removed later.
	 */
	gnss-res-hog {
		gpio-hog;
		gpios = <29 GPIO_ACTIVE_LOW>;
		output-low;
		line-name = "gnss-res#";
	};

	/*
	 * CP2108 quad UART bridge — QUART_RES# (SAI1_RXD3 → GPIO4_IO5), active-low reset from SoC.
	 * Same pattern as bt-reset-hog: GPIO_ACTIVE_LOW + output-low → reset deasserted (bridge running).
	 */
	quart-res-hog {
		gpio-hog;
		gpios = <5 GPIO_ACTIVE_LOW>;
		output-low;
		line-name = "quart-res#";
	};

	/*
	 * CAN transceiver standby (GPIO4_IO15) — HW labels CAN_STBY Active-High: high = standby asserted on many parts.
	 * Default output-low — typical “run” if standby is high-active; delete hog if userspace/socketcan must toggle.
	 */
	can-stby-hog {
		gpio-hog;
		gpios = <15 GPIO_ACTIVE_HIGH>;
		output-low;
		line-name = "can-stby";
	};
};

&gpio5 {
	/*
	 * SIM_SEL (SPDIF_TX → GPIO5_IO3) — mux between nano SIM slot and eSIM: output-low selects nano SIM,
	 * output-high selects eSIM (matches spreadsheet active-high naming).
	 */
	sim-sel-hog {
		gpio-hog;
		gpios = <3 GPIO_ACTIVE_HIGH>;
		output-low;
		line-name = "sim-sel";
	};
};

/*
 * Ethernet
 *   FEC — i.MX Gigabit MAC to KSZ9896 “CPU” port over RGMII (no external PHY on FEC).
 *   Switch management — I2C on &i2c3 @ 0x5f; internal PHYs on switch MDIO (lan1–lan4).
 *   Details: docs/DT510-ETHERNET-KSZ9896.md
 */
&fec1 {
	pinctrl-names = "default";
	pinctrl-0 = <&pinctrl_fec1_dt510 &pinctrl_ksz9896_sideband>;
	/*
	 * RGMII to KSZ9896 CPU port: use rgmii-id so MAC phylink matches KSZ XMII internal delays.
	 * (Avoid rgmii-txid + tx-internal-delay only on the switch port — KSZ driver then forces
	 * rx_delay=0 and can clear the default RX-clock delay on Port 6, hurting ingress timing.)
	 */
	phy-mode = "rgmii-id";
	status = "okay";
	/delete-property/ phy-handle;
	/delete-property/ fsl,magic-packet;

	fixed-link {
		speed = <1000>;
		full-duplex;
		pause;
	};
};

/*
 * I2C peripherals (see also file banner for Linux i2c-N vs &i2cN)
 *
 * &i2c2 (Linux i2c-1): audio ICs (TAS2563 / TAS6424).
 * &i2c3 (Linux i2c-2): KSZ9896 switch @ 0x5f + charger + LT9611 HDMI bridge.
 * PMIC &i2c1 stays in imx8mm-evkb.dts (PCA9450).
 */
&i2c2 {
	/* EVK USB-C PD controller not populated — TCPC node removed (freed 0x50). */
	/delete-node/ tcpc@50;

	/*
	 * EVK hdmi@3d — Analog Devices ADV7535 (binds as adv7511). DT510 uses LT9611 on &i2c3; keep node but disabled
	 * so no I²C driver probes and no IRQ/pinctrl runs (delete-node alone can be fragile across overlays).
	 */
	hdmi@3d {
		status = "disabled";
	};

	/* TI TAS2563 — smart amp / speaker driver (control + diagnostics on I2C, audio on &sai3). */
	tas2563: tas2563@4c {
		#sound-dai-cells = <0>;
		compatible = "ti,tas2563";
		reg = <0x4c>;
		ti,channels = <1>;
		reset-gpios = <&gpio5 4 GPIO_ACTIVE_LOW>;
		interrupt-parent = <&gpio5>;
		interrupts = <5 IRQ_TYPE_LEVEL_LOW>;

		ti,asi-format = <0>;
		ti,left-slot = <0>;
		ti,right-slot = <1>;

		status = "okay";
	};

	/* TI TAS6424 — four-channel class-D output (I2S on &sai1). */
	tas6424: tas6424@6a {
		compatible = "ti,tas6424";
		reg = <0x6a>;
		#sound-dai-cells = <0>;
		pinctrl-names = "default";
		pinctrl-0 = <&pinctrl_tas6424_gpio>;
		dvdd-supply = <&reg_vddext_3v3>;
		vbat-supply = <&tas6424_hi_rail>;
		pvdd-supply = <&tas6424_hi_rail>;
		standby-gpios = <&gpio1 10 GPIO_ACTIVE_LOW>;
		mute-gpios = <&gpio1 11 GPIO_ACTIVE_LOW>;
		status = "okay";
	};

	/*
	 * TI TAC5301-Q1 — analog audio codec on &sai6.
	 * Kernel: upstream ti,tac5x1x ASoC driver (e.g. Linux 6.10+) — not in current linux-lmp-fslc-imx line; leave disabled until driver lands.
	 * Revise reset-gpios / supplies vs datasheet + tac5x1x YAML when enabling.
	 */
	tac5301: tac5301@50 {
		compatible = "ti,tac5301";
		reg = <0x50>;
		#sound-dai-cells = <0>;
		pinctrl-names = "default";
		pinctrl-0 = <&pinctrl_tac5301_gpio>;
		reset-gpios = <&gpio4 14 GPIO_ACTIVE_LOW>;
		avdd-supply = <&reg_vddext_3v3>;
		iovdd-supply = <&reg_vddext_3v3>;
		status = "disabled";
	};
};

&i2c3 {
	/* Strip EVK audio/camera/gpio-expander children not fitted on DT510. */
	/delete-node/ ak4458@10;
	/delete-node/ ak4458@12;
	/delete-node/ ak5558@13;
	/delete-node/ ak4497@11;
	/delete-node/ camera@3c;
	/delete-node/ gpio@20;

	/* Microchip KSZ9896 — 4-port gigabit switch + RGMII CPU port; strap sets this I2C address (hardware on &i2c3). */
	ksz9896_sw: switch@5f {
		compatible = "microchip,ksz9896";
		reg = <0x5f>;
		/* ENET_RST_N# — SAI1_RXC → GPIO4_IO1; active-low reset output from SoC */
		reset-gpios = <&gpio4 1 GPIO_ACTIVE_LOW>;
		interrupt-parent = <&gpio4>;
		/* ENET_INTRP_N# — SAI1_RXFS → GPIO4_IO0; active-low interrupt input */
		interrupts = <0 IRQ_TYPE_LEVEL_LOW>;

		ethernet-ports {
			#address-cells = <1>;
			#size-cells = <0>;

			port@0 {
				reg = <0>;
				label = "lan1";
				phy-handle = <&swphy0>;
			};

			port@1 {
				reg = <1>;
				label = "lan2";
				phy-handle = <&swphy1>;
			};

			port@2 {
				reg = <2>;
				label = "lan3";
				phy-handle = <&swphy2>;
			};

			port@3 {
				reg = <3>;
				label = "lan4";
				phy-handle = <&swphy3>;
			};

			port@5 {
				reg = <5>;
				label = "cpu";
				ethernet = <&fec1>;
				phy-mode = "rgmii-id";
				rx-internal-delay-ps = <2000>;
				tx-internal-delay-ps = <2000>;

				fixed-link {
					speed = <1000>;
					full-duplex;
					pause;
				};
			};
		};

		mdio {
			#address-cells = <1>;
			#size-cells = <0>;

			swphy0: ethernet-phy@0 {
				reg = <0>;
				eee-broken-100tx;
				eee-broken-1000t;
			};

			swphy1: ethernet-phy@1 {
				reg = <1>;
				eee-broken-100tx;
				eee-broken-1000t;
			};

			swphy2: ethernet-phy@2 {
				reg = <2>;
				eee-broken-100tx;
				eee-broken-1000t;
			};

			swphy3: ethernet-phy@3 {
				reg = <3>;
				eee-broken-100tx;
				eee-broken-1000t;
			};
		};
	};

	/* TI BQ25792 — battery charger; CHGR_INT# on GPIO4_IO9 (see pinctrl_bq25792_chgr_int). */
	bq25792: bq25792@6b {
		compatible = "ti,bq25792";
		reg = <0x6b>;
		monitored-battery = <&battery_dt510>;
		interrupt-parent = <&gpio4>;
		interrupts = <9 IRQ_TYPE_LEVEL_LOW>;
		status = "okay";
	};

	/*
	 * Lontium LT9611 — DSI→HDMI bridge. Requires regulators + DSI/MIPI graph per binding before status okay.
	 * Pins: reset GPIO2_IO11 (HDMI_RES#), IRQ GPIO2_IO6 (HDMI_INT to chip — active-high input from LT9611).
	 */
	lt9611: lt9611@39 {
		compatible = "lontium,lt9611";
		reg = <0x39>;
		status = "disabled";
		reset-gpios = <&gpio2 11 GPIO_ACTIVE_LOW>;
		interrupt-parent = <&gpio2>;
		interrupts = <6 IRQ_TYPE_LEVEL_HIGH>;
		vdd-supply = <&reg_vddext_3v3>;
		vcc-supply = <&reg_vddext_3v3>;
	};
};

/*
 * SAI — serial audio interfaces to codec silicon
 *   sai1 — I2S/DSP to TAS6424 (playback path).
 *   sai3 — I2S/TDM to TAS2563 (Profile 8 echo reference / smart amp data).
 */
&sai1 {
	pinctrl-names = "default";
	pinctrl-0 = <&pinctrl_sai1_tas6424>;
	assigned-clocks = <&clk IMX8MM_CLK_SAI1_ROOT>;
	assigned-clock-parents = <&clk IMX8MM_AUDIO_PLL1_OUT>;
	assigned-clock-rates = <12288000>;
	fsl,sai-mclk-direction-output;
	#sound-dai-cells = <0>;
	status = "okay";
};

&sai3 {
	pinctrl-names = "default";
	pinctrl-0 = <&pinctrl_sai3>;
	assigned-clocks = <&clk IMX8MM_CLK_SAI3>;
	assigned-clock-parents = <&clk IMX8MM_AUDIO_PLL1_OUT>;
	assigned-clock-rates = <12288000>;
	fsl,sai-mclk-direction-output;
	fsl,sai-synchronous-rx;
	#sound-dai-cells = <0>;
	status = "okay";
};

/*
 * Disabled — unused SKU options, EVK leftovers, or controller blocks pending driver / bring-up.
 *   uart3 — not fitted / unused on this product.
 *   sai6 — TAC5301 path (see tac5301@50); enable with ti,tac5x1x ASoC when kernel supports it.
 *   ir_recv — EVK GPIO1_IR conflicts with TAS6424 GPIO usage.
 *   snvs_pwrkey — EVK enables SNVS PMIC_ON_REQ power key; DT510 product has no wired key / avoid stray KEY_POWER input.
 *   reg_pcie0 / pcie0 — mini-PCIe power path not used (no M.2/NVMe on this SKU).
 *   backlight — no EVK-style LCD panel on DT510.
 *   mipi_dsi — display stack disabled until product HDMI/display bring-up.
 *   spdif1 — SPDIF not wired out for DT510 audio plan.
 */
&uart3 {
	status = "disabled";
};

&sai6 {
	pinctrl-names = "default";
	pinctrl-0 = <&pinctrl_sai6_tac5301>;
	assigned-clocks = <&clk IMX8MM_CLK_SAI6_ROOT>;
	assigned-clock-parents = <&clk IMX8MM_AUDIO_PLL1_OUT>;
	assigned-clock-rates = <12288000>;
	fsl,sai-mclk-direction-output;
	fsl,sai-synchronous-rx;
	#sound-dai-cells = <0>;
	status = "disabled";
};

&ir_recv {
	status = "disabled";
};

&snvs_pwrkey {
	status = "disabled";
};

&reg_pcie0 {
	status = "disabled";
};

&backlight {
	status = "disabled";
};

&mipi_dsi {
	status = "disabled";
	/* Drop dsi_out → adv7535_in link (hdmi@3d disabled). */
	/delete-node/ ports;
};

&spdif1 {
	status = "disabled";
};

&pcie0 {
	status = "disabled";
};

/*
 * ECSPI — Zigbee / 802.15.4 radio module
 *   Hardware SPI to RF IC; userspace opens spidev for Silicon Labs ZBOSS / spinel stacks.
 *   DMA disabled so transfers stay predictable for timing-sensitive firmware reloads.
 */
&ecspi1 {
	#address-cells = <1>;
	#size-cells = <0>;
	pinctrl-names = "default";
	pinctrl-0 = <&pinctrl_ecspi1>, <&pinctrl_zigbee>;
	cs-gpios = <&gpio5 9 GPIO_ACTIVE_LOW>;
	fsl,spi-num-chipselects = <1>;
	/delete-property/ dmas;
	/delete-property/ dma-names;
	fsl,spi-rdy-drctl = <0>;
	status = "okay";

	/* Generic spidev — Linux userspace talks Zigbee/NCP protocol (not a DT-bound radio driver). */
	spidev1: spi@0 {
		compatible = "rohm,dh2228fv";
		spi-max-frequency = <10000000>;
		spi-mode = <0>;
		reg = <0>;
	};
};

/*
 * ECSPI2 — Microchip MCP251863 CAN-FD controller (SPI). ECSPI2 pads are distinct from UART4 RX/TX balls on i.MX8MM.
 *
 * linux-imx imx8mm-evk.dtsi (not mainline) adds spidev0 @ spi@0 + cs-gpios on GPIO5_IO13 — same CS as MCP2518 →
 * "chipselect 0 already in use". Remove EVK child and gpio-CS; MCP2518 uses native ECSPI2_SS0 (pinctrl_ecspi2).
 */
&ecspi2 {
	#address-cells = <1>;
	#size-cells = <0>;
	pinctrl-names = "default";
	pinctrl-0 = <&pinctrl_ecspi2>;
	fsl,spi-num-chipselects = <1>;
	/delete-property/ dmas;
	/delete-property/ dma-names;
	/delete-property/ cs-gpios;
	status = "okay";

	/* /delete-property/ must precede /delete-node/ (dtc treats delete-node as subnode-related). */
	/delete-node/ spi@0;

	can0: can@0 {
		compatible = "microchip,mcp251863", "microchip,mcp2518fd";
		reg = <0>;
		clocks = <&can0_osc>;
		spi-max-frequency = <20000000>;
		interrupt-parent = <&gpio4>;
		interrupts = <16 IRQ_TYPE_LEVEL_LOW>;
		vdd-supply = <&reg_vddext_3v3>;
	};
};

/*
 * USB controllers
 *   usbotg1 — device-only: USB gadget (lab dual-UAC2, etc.); no TCPC so no role-switch.
 *   usbotg2 — host port for LTE/cellular modem mass-storage/diagnostic interfaces.
 */
&usbotg1 {
	dr_mode = "peripheral";
	status = "okay";
	/delete-property/ usb-role-switch;
	/delete-node/ port;
};

&usbotg2 {
	dr_mode = "host";
	status = "okay";
};

/*
 * USDHC2 — SDIO interface to WLAN module (NXP IW612 / ublox MAYA-W2 class).
 *   vmmc-supply — PCA9450 VDDEXT (`&reg_vddext_3v3`). wifi_wake_host — GPIO2_IO9 (SD1_DATA7), IRQ 9.
 * imx8mm-evkb.dts disables &usdhc2; enable explicitly before other props so SDIO host cannot stay off.
 */
&usdhc2 {
	status = "okay";
	/* SDIO I/O voltage / card power — PMIC VDDEXT rail (imx8mm-evkb PCA9450), not a discrete WLAN-only buck in DT */
	vmmc-supply = <&reg_vddext_3v3>;
	pinctrl-names = "default", "state_100mhz", "state_200mhz";
	pinctrl-0 = <&pinctrl_usdhc2>;
	pinctrl-1 = <&pinctrl_usdhc2_100mhz>;
	pinctrl-2 = <&pinctrl_usdhc2_200mhz>;
	bus-width = <4>;
	keep-power-in-suspend;
	non-removable;
	wakeup-source;
	max-frequency = <100000000>;
	fsl,sdio-async-interrupt-enabled;
	pm-ignore-notify;
	cap-power-off-card;

	wifi_wake_host {
		compatible = "nxp,wifi-wake-host";
		interrupt-parent = <&gpio2>;
		interrupts = <9 IRQ_TYPE_LEVEL_LOW>;  /* WL_WAKE — SD1_DATA7 / GPIO2_IO9 */
		interrupt-names = "host-wake";
		wakeup-source;
	};
};

/*
 * USDHC3 — eMMC (EVK-style). imx8mm-evkb.dtsi leaves this disabled; imx8mm-evk.dts enabled it — restore here.
 */
&usdhc3 {
	assigned-clocks = <&clk IMX8MM_CLK_USDHC3_ROOT>;
	assigned-clock-rates = <400000000>;
	pinctrl-names = "default", "state_100mhz", "state_200mhz";
	pinctrl-0 = <&pinctrl_usdhc3>;
	pinctrl-1 = <&pinctrl_usdhc3_100mhz>;
	pinctrl-2 = <&pinctrl_usdhc3_200mhz>;
	bus-width = <8>;
	non-removable;
	status = "okay";
};

/*
 * Terminal override: keep mmc@30b40000 (USDHC2) enabled after any later included fragments.
 * Regression (IMAGE_VERSION 246): DT showed status "disabled" → no SDHCI probe → no IW612 SDIO / wlan0.
 */
&usdhc2 {
	status = "okay";
};
